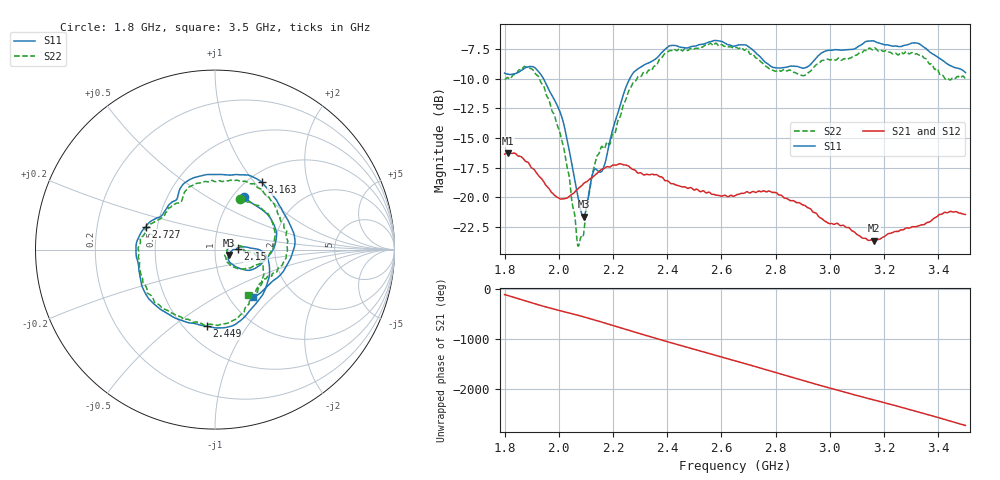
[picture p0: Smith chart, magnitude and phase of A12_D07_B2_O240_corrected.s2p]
! Created with skrf 1.9.0 (http://scikit-rf.org).
# Hz S RI R 50.0
!freq ReS11 ImS11 ReS21 ImS21 ReS12 ImS12 ReS22 ImS22
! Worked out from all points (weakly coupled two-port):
!   1601 points, 1.8 GHz to 3.5 GHz, reference 50 ohm
!   highest |S21| = -16.26 dB at 1.812 GHz (marker M1); lowest = -23.7 dB at 3.162 GHz (marker M2)
!   lowest |S11| = -21.7 dB at 2.091 GHz (marker M3), VSWR 1.18, Z = 58.2 - j3.58 ohm
!   |S11| at or under -10 dB: 1.944 GHz to 2.261 GHz (317.4 MHz wide, 15.1 % of centre)
!   |S22| runs from -24.1 to -7.0 dB; largest |S21 - S12| = 0.0029
!   S11 on the Smith chart (normalised r, x): 1.8 GHz: 1.13, +0.74; 2.15 GHz: 1.29, +0.01; 2.449 GHz: 0.64, -0.67; 2.727 GHz: 0.43, +0.13; 3.163 GHz: 1.15, +1.09; 3.5 GHz: 1.28, -0.76
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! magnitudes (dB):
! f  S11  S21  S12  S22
! 1.8 GHz  -9.5  -16.4  -16.4  -10.0
! 1.812 GHz  -9.6  -16.3  -16.3  -9.9
! 1.881 GHz  -9.0  -17.0  -17.0  -9.0
! 1.942 GHz  -9.9  -18.6  -18.6  -10.5
! 2.014 GHz  -13.4  -20.1  -20.2  -15.4
! 2.069 GHz  -19.7  -19.3  -19.3  -24.0
! 2.084 GHz  -21.4  -19.0  -19.0  -23.3
! 2.091 GHz  -21.7  -18.9  -18.9  -23.2
! 2.127 GHz  -17.8  -18.3  -18.3  -17.7
! 2.15 GHz  -17.9  -17.8  -17.8  -16.2
! 2.192 GHz  -14.9  -17.4  -17.4  -15.2
! 2.261 GHz  -10.0  -17.4  -17.5  -10.9
! 2.367 GHz  -8.1  -18.2  -18.2  -8.5
! 2.449 GHz  -7.3  -19.1  -19.1  -7.5
! 2.65 GHz  -7.2  -19.9  -19.8  -7.4
! 2.727 GHz  -7.8  -19.6  -19.6  -8.2
! 2.934 GHz  -8.7  -21.1  -21.1  -9.2
! 3.162 GHz  -6.8  -23.7  -23.6  -7.5
! 3.163 GHz  -6.8  -23.7  -23.6  -7.4
! 3.217 GHz  -7.2  -23.1  -23.1  -7.7
! 3.326 GHz  -7.0  -22.4  -22.4  -8.0
! 3.5 GHz  -9.5  -21.5  -21.5  -10.0
